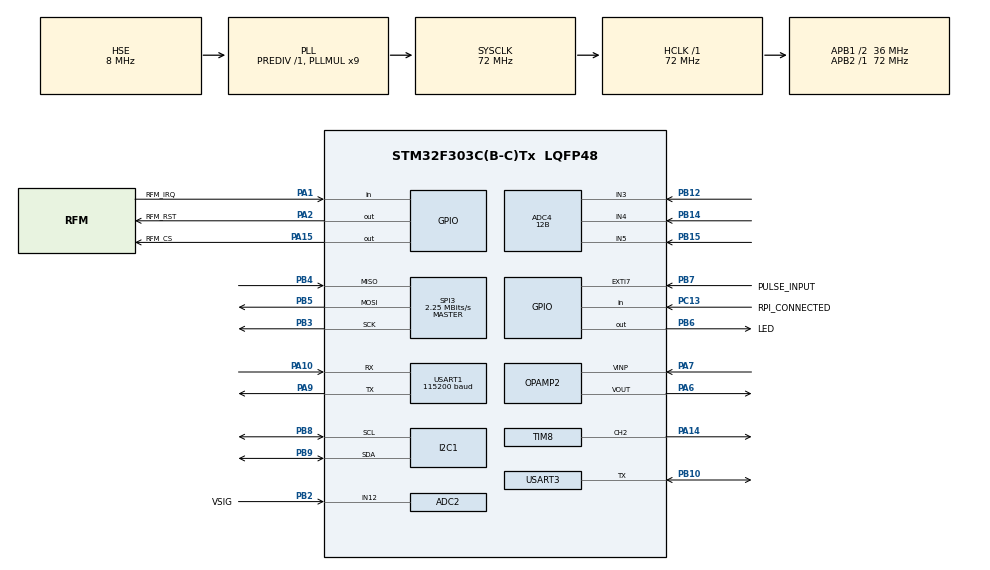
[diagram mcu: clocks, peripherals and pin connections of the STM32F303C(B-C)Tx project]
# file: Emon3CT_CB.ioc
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ADC2.Channel-0\#ChannelRegularConversion=ADC_CHANNEL_12
ADC2.ClockPrescaler=ADC_CLOCK_SYNC_PCLK_DIV4
ADC2.ContinuousConvMode=ENABLE
ADC2.DMAContinuousRequests=ENABLE
ADC2.DataAlign=ADC_DATAALIGN_RIGHT
ADC2.DiscontinuousConvMode=DISABLE
ADC2.EOCSelection=ADC_EOC_SEQ_CONV
ADC2.EnableAnalogWatchDog1=false
ADC2.EnableAnalogWatchDog2=false
ADC2.EnableAnalogWatchDog3=false
ADC2.EnableInjectedConversion=DISABLE
ADC2.EnableRegularConversion=ENABLE
ADC2.ExternalTrigConv=ADC_EXTERNALTRIGCONV_T8_TRGO2
ADC2.ExternalTrigConvEdge=ADC_EXTERNALTRIGCONVEDGE_RISING
ADC2.LowPowerAutoWait=DISABLE
ADC2.NbrOfConversion=1
ADC2.NbrOfConversionFlag=1
ADC2.Offset-0\#ChannelRegularConversion=0
ADC2.OffsetNumber-0\#ChannelRegularConversion=ADC_OFFSET_NONE
ADC2.Overrun=ADC_OVR_DATA_OVERWRITTEN
ADC2.Rank-0\#ChannelRegularConversion=1
ADC2.Resolution=ADC_RESOLUTION_12B
ADC2.SamplingTime-0\#ChannelRegularConversion=ADC_SAMPLETIME_601CYCLES_5
ADC2.ScanConvMode=ADC_SCAN_DISABLE
ADC4.Channel-25\#ChannelRegularConversion=ADC_CHANNEL_3
ADC4.Channel-26\#ChannelRegularConversion=ADC_CHANNEL_4
ADC4.Channel-27\#ChannelRegularConversion=ADC_CHANNEL_5
ADC4.ClockPrescaler=ADC_CLOCK_SYNC_PCLK_DIV4
ADC4.ContinuousConvMode=ENABLE
ADC4.DMAContinuousRequests=ENABLE
ADC4.DataAlign=ADC_DATAALIGN_RIGHT
ADC4.DiscontinuousConvMode=DISABLE
ADC4.EOCSelection=ADC_EOC_SEQ_CONV
ADC4.EnableAnalogWatchDog1=false
ADC4.EnableAnalogWatchDog2=false
ADC4.EnableAnalogWatchDog3=false
ADC4.EnableInjectedConversion=DISABLE
ADC4.EnableRegularConversion=ENABLE
ADC4.ExternalTrigConv=ADC_EXTERNALTRIGCONV_T8_TRGO2
ADC4.ExternalTrigConvEdge=ADC_EXTERNALTRIGCONVEDGE_RISING
ADC4.LowPowerAutoWait=DISABLE
ADC4.NbrOfConversion=3
ADC4.NbrOfConversionFlag=1
ADC4.Offset-25\#ChannelRegularConversion=0
ADC4.Offset-26\#ChannelRegularConversion=0
ADC4.Offset-27\#ChannelRegularConversion=0
ADC4.OffsetNumber-25\#ChannelRegularConversion=ADC_OFFSET_NONE
ADC4.OffsetNumber-26\#ChannelRegularConversion=ADC_OFFSET_NONE
ADC4.OffsetNumber-27\#ChannelRegularConversion=ADC_OFFSET_NONE
ADC4.Overrun=ADC_OVR_DATA_OVERWRITTEN
ADC4.Rank-25\#ChannelRegularConversion=1
ADC4.Rank-26\#ChannelRegularConversion=2
ADC4.Rank-27\#ChannelRegularConversion=3
ADC4.Resolution=ADC_RESOLUTION_12B
ADC4.SamplingTime-25\#ChannelRegularConversion=ADC_SAMPLETIME_601CYCLES_5
ADC4.SamplingTime-26\#ChannelRegularConversion=ADC_SAMPLETIME_601CYCLES_5
ADC4.SamplingTime-27\#ChannelRegularConversion=ADC_SAMPLETIME_601CYCLES_5
ADC4.ScanConvMode=ADC_SCAN_ENABLE
Dma.ADC2.1.Direction=DMA_PERIPH_TO_MEMORY
Dma.ADC2.1.Instance=DMA2_Channel1
Dma.ADC2.1.MemDataAlignment=DMA_MDATAALIGN_HALFWORD
Dma.ADC2.1.MemInc=DMA_MINC_ENABLE
Dma.ADC2.1.Mode=DMA_CIRCULAR
Dma.ADC2.1.PeriphDataAlignment=DMA_PDATAALIGN_HALFWORD
Dma.ADC2.1.PeriphInc=DMA_PINC_DISABLE
Dma.ADC2.1.Priority=DMA_PRIORITY_HIGH
Dma.ADC4.0.Direction=DMA_PERIPH_TO_MEMORY
Dma.ADC4.0.Instance=DMA2_Channel2
Dma.ADC4.0.MemDataAlignment=DMA_MDATAALIGN_HALFWORD
Dma.ADC4.0.MemInc=DMA_MINC_ENABLE
Dma.ADC4.0.Mode=DMA_CIRCULAR
Dma.ADC4.0.PeriphDataAlignment=DMA_PDATAALIGN_HALFWORD
Dma.ADC4.0.PeriphInc=DMA_PINC_DISABLE
Dma.ADC4.0.Priority=DMA_PRIORITY_LOW
Dma.Request0=ADC4
Dma.Request1=ADC2
I2C1.Timing=0x10808DD3
Mcu.Family=STM32F3
Mcu.Name=STM32F303C(B-C)Tx
Mcu.Package=LQFP48
NVIC.ADC1_2_IRQn=true\:0\:0\:false\:false\:true\:true
NVIC.ADC4_IRQn=true\:0\:0\:false\:false\:true\:true
NVIC.DMA2_Channel1_IRQn=true\:0\:0\:false\:false\:true\:false
NVIC.DMA2_Channel2_IRQn=true\:0\:0\:false\:false\:true\:false
NVIC.EXTI9_5_IRQn=true\:0\:0\:false\:false\:true\:true
NVIC.FPU_IRQn=true\:0\:0\:false\:false\:true\:true
NVIC.PriorityGroup=NVIC_PRIORITYGROUP_4
PA1.GPIO_Label=RFM_IRQ
PA1.Signal=GPIO_Input
PA10.Mode=Asynchronous
PA10.Signal=USART1_RX
PA14.Signal=S_TIM8_CH2
PA15.GPIO_Label=RFM_CS
PA15.Signal=GPIO_Output
PA2.GPIO_Label=RFM_RST
PA2.Signal=GPIO_Output
PA6.Mode=Follower
PA6.Signal=OPAMP2_VOUT
PA7.Mode=Follower
PA7.Signal=OPAMP2_VINP
PA9.Mode=Asynchronous
PA9.Signal=USART1_TX
PB10.Mode=Half_duplex(single_wire_mode)
PB10.Signal=USART3_TX
PB12.Mode=IN3-Single-Ended
PB12.Signal=ADC4_IN3
PB14.Mode=IN4-Single-Ended
PB14.Signal=ADC4_IN4
PB15.Mode=IN5-Single-Ended
PB15.Signal=ADC4_IN5
PB2.GPIO_Label=VSIG
PB2.Mode=IN12-Single-Ended
PB2.Signal=ADC2_IN12
PB3.Mode=Full_Duplex_Master
PB3.Signal=SPI3_SCK
PB4.Mode=Full_Duplex_Master
PB4.Signal=SPI3_MISO
PB5.Mode=Full_Duplex_Master
PB5.Signal=SPI3_MOSI
PB6.GPIO_Label=LED
PB6.Signal=GPIO_Output
PB7.GPIO_Label=PULSE_INPUT
PB7.Signal=GPXTI7
PB8.Mode=I2C
PB8.Signal=I2C1_SCL
PB9.Mode=I2C
PB9.Signal=I2C1_SDA
PC13.GPIO_Label=RPI_CONNECTED
PC13.GPIO_PuPd=GPIO_PULLDOWN
PC13.Signal=GPIO_Input
PF0-OSC_IN.Mode=HSE-External-Oscillator
PF0-OSC_IN.Signal=RCC_OSC_IN
PF1-OSC_OUT.Mode=HSE-External-Oscillator
PF1-OSC_OUT.Signal=RCC_OSC_OUT
ProjectManager.HeapSize=0x200
ProjectManager.StackSize=0x400
ProjectManager.TargetToolchain=Makefile
RCC.AHBFreq_Value=72000000
RCC.APB1CLKDivider=RCC_HCLK_DIV2
RCC.APB1Freq_Value=36000000
RCC.APB1TimFreq_Value=72000000
RCC.APB2Freq_Value=72000000
RCC.APB2TimFreq_Value=72000000
RCC.CortexFreq_Value=72000000
RCC.HCLKFreq_Value=72000000
RCC.HSE_VALUE=8000000
RCC.HSI_VALUE=8000000
RCC.I2c1ClockSelection=RCC_I2C1CLKSOURCE_SYSCLK
RCC.LSE_VALUE=32768
RCC.PLLMUL=RCC_PLL_MUL9
RCC.PLLSourceVirtual=RCC_PLLSOURCE_HSE
RCC.SYSCLKFreq_VALUE=72000000
RCC.SYSCLKSourceVirtual=RCC_SYSCLKSOURCE_PLLCLK
RCC.USBFreq_Value=72000000
RCC.Usart3ClockSelection=RCC_USART3CLKSOURCE_SYSCLK
SH.S_TIM8_CH2.0=TIM8_CH2,PWM Generation2 CH2
SPI3.BaudRatePrescaler=SPI_BAUDRATEPRESCALER_16
SPI3.CalculateBaudRate=2.25 MBits/s
SPI3.DataSize=SPI_DATASIZE_8BIT
SPI3.Direction=SPI_DIRECTION_2LINES
SPI3.Mode=SPI_MODE_MASTER
SPI3.VirtualType=VM_MASTER
TIM8.Channel-PWM\ Generation2\ CH2=TIM_CHANNEL_2
TIM8.Period=9999
TIM8.Prescaler=71
TIM8.TIM_MasterOutputTrigger2=TIM_TRGO2_OC2REF
USART1.BaudRate=115200
USART1.VirtualMode-Asynchronous=VM_ASYNC
USART3.VirtualMode-Half_duplex(single_wire_mode)=VM_ASYNC
board=Emon3CT_CB

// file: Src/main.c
/**
  ******************************************************************************
  * @file           : main.c
  * @brief          : Main program body
  ******************************************************************************
  ** This notice applies to any and all portions of this file
  * that are not between comment pairs USER CODE BEGIN and
  * USER CODE END. Other portions of this file, whether
  * inserted by the user or by software development tools
  * are owned by their respective copyright owners.
  *
  * COPYRIGHT(c) 2021 STMicroelectronics
  *
  * Redistribution and use in source and binary forms, with or without modification,
  * are permitted provided that the following conditions are met:
  *   1. Redistributions of source code must retain the above copyright notice,
  *      this list of conditions and the following disclaimer.
  *   2. Redistributions in binary form must reproduce the above copyright notice,
  *      this list of conditions and the following disclaimer in the documentation
  *      and/or other materials provided with the distribution.
  *   3. Neither the name of STMicroelectronics nor the names of its contributors
  *      may be used to endorse or promote products derived from this software
  *      without specific prior written permission.
  *
  * THIS SOFTWARE IS PROVIDED BY THE COPYRIGHT HOLDERS AND CONTRIBUTORS "AS IS"
  * AND ANY EXPRESS OR IMPLIED WARRANTIES, INCLUDING, BUT NOT LIMITED TO, THE
  * IMPLIED WARRANTIES OF MERCHANTABILITY AND FITNESS FOR A PARTICULAR PURPOSE ARE
  * DISCLAIMED. IN NO EVENT SHALL THE COPYRIGHT HOLDER OR CONTRIBUTORS BE LIABLE
  * FOR ANY DIRECT, INDIRECT, INCIDENTAL, SPECIAL, EXEMPLARY, OR CONSEQUENTIAL
  * DAMAGES (INCLUDING, BUT NOT LIMITED TO, PROCUREMENT OF SUBSTITUTE GOODS OR
  * SERVICES; LOSS OF USE, DATA, OR PROFITS; OR BUSINESS INTERRUPTION) HOWEVER
  * CAUSED AND ON ANY THEORY OF LIABILITY, WHETHER IN CONTRACT, STRICT LIABILITY,
  * OR TORT (INCLUDING NEGLIGENCE OR OTHERWISE) ARISING IN ANY WAY OUT OF THE USE
  * OF THIS SOFTWARE, EVEN IF ADVISED OF THE POSSIBILITY OF SUCH DAMAGE.
  *
  ******************************************************************************
  */
#include "main.h"
#include "stm32f3xx_hal.h"
#include "adc.h"
#include "dma.h"
#include "i2c.h"
#include "opamp.h"
#include "spi.h"
#include "tim.h"
#include "usart.h"
#include "gpio.h"

/* USER CODE BEGIN Includes */
#include <string.h>
//#include "ds18b20.h"
#include <math.h>
#include <stdbool.h>
#include "power.h"
#include "reset.h"
#include "phase.h"
// #include "rfm.h"
// #include "RFM69.h"
// #include "RFM69_ext.h"
/* USER CODE END Includes */

/* USER CODE BEGIN PV */
/* Private variables ---------------------------------------------------------*/

// version information
char hwVersion[] = "0.2";
char fwVersion[] = "0.1";

//--------------------------------
// Radio Settings
//--------------------------------
// See RFM69.c for networkID, band,
// and other settings.
bool radioSender = false; // set 'true' to send test data with RFM69.
bool radioReceiver = false; // set 'true' to enable rfm69cw receiving.
static char encryptkey[20] = {'\0'}; // twenty character encrypt key, or  '\0'  for nothing.
//char encryptkey[20] = "asdfasdfasdfasdf"; // twenty character encrypt key, or  '\0'  for nothing.

#define RFM69CW
// #define RFMSELPIN 10                                    // RFM pins
// #define RFMIRQPIN 2                                     // RFM pins
#define RFPWR 0x99                                      // RFM Power setting - see rfm.ino for more

//------------------------------------------------
// timing variables
//------------------------------------------------
uint32_t readings_interval = 500; // millis to read waveform at.
uint32_t posting_interval = 5000; // millis to post data at.

//------------------------------------------------
// misc. flags
//------------------------------------------------
bool first_readings = false;
bool no_volts_flag = false;
// bool readings_ready = false;
bool rpi_connected;
// extern bool conv_halfcplt_flag;
// extern bool conv_cplt_flag;
bool ledBlink = true; // enable or disable LED blinking.

//------------------------
// Channel Results
//------------------------
typedef struct channel_results_
{
  double Vrms;
  double Irms;
  double ApparentPower;
  double RealPower;
  double PowerFactor;
  bool Clipped;
  int Mains_AC_Cycles; // counting complete waveforms
  long SampleCount;
  int Count;
} channel_results_t;

channel_results_t channel_results[CTn] = {0}; //  init the channel results.

//------------------------
// UART SERIAL BUFFERS
//------------------------
#define COMMAND_BUFFER_SIZE 30
char rx_string[COMMAND_BUFFER_SIZE];
char string_buffer[200];

//--------------------
// Time variables
//--------------------
uint32_t current_millis;
uint32_t previous_millis_fine;
uint32_t previous_millis_course;
uint32_t time2;
uint32_t time1;
uint32_t time_diff;

//----------------
// MISC
//----------------
static uint32_t pulseCount = 0;
extern int boot_number;

#define MID_ADC_READING 2048

/* USER CODE END PV */

void SystemClock_Config(void);

/* USER CODE BEGIN PFP */
/* Private function prototypes -----------------------------------------------*/

/* USER CODE END PFP */

int main(void)
{
  /* USER CODE BEGIN 1 */
  V_SCALE = VCAL * VOLTS_PER_DIV;
  I_SCALE = ICAL * VOLTS_PER_DIV;

  int _readings_interval = readings_interval; // temporarily store the usable posting period.
  readings_interval = 100; // speed up first discarded reading.

  /* USER CODE END 1 */

  /* MCU Configuration----------------------------------------------------------*/

  /* Reset of all peripherals, Initializes the Flash interface and the Systick. */
  HAL_Init();

  /* Configure the system clock */
  SystemClock_Config();

  /* Initialize all configured peripherals */
  MX_GPIO_Init();
  MX_DMA_Init();
  MX_USART1_UART_Init();
  MX_TIM8_Init();
  MX_ADC2_Init();
  MX_USART3_UART_Init();
  MX_I2C1_Init();
  MX_ADC4_Init();
  MX_SPI3_Init();
  MX_OPAMP2_Init();
  /* USER CODE BEGIN 2 */

  HAL_Delay(2000); // time necessary to catch first serial output on firmware launch after flash.

  sprintf(log_buffer, "{HardwareVersion:%s,FirmwareVersion:%s}\r\n", hwVersion, fwVersion); // initital write to buffer.
  debug_printf(log_buffer);
  debug_printf("\r\n\r\nStart, connect VT.\r\n");

  //------------------------
  // RESET CAUSE
  //------------------------
  reset_cause_store = reset_cause_get();
  // while (!usart_tx_ready); // force wait while usart Tx finishes.
  sprintf(log_buffer, "Reset Cause:%s\r\n", reset_cause_get_name(reset_cause_store));
  debug_printf(log_buffer);

  //------------------------
  // is the rPi Connected?
  //------------------------
  if (HAL_GPIO_ReadPin(RPI_CONNECTED_GPIO_Port, RPI_CONNECTED_Pin) == 1)
  {
    debug_printf("rPi connected!\r\n");
    // _mode = 1; // rpi mode.
    rpi_connected = true;
    // HAL_SPI_MspDeInit(&hspi3); // DeInit rPi SPI
    //----
    // Necessary? Does DeInit put the pins into a safe high impedance state?
    // GPIO_InitTypeDef GPIO_InitStruct;
    // GPIO_InitStruct.Pin = GPIO_PIN_3|GPIO_PIN_4|GPIO_PIN_5;
    // GPIO_InitStruct.Mode = GPIO_MODE_ANALOG;
    // GPIO_InitStruct.Pull = GPIO_NOPULL;
    // HAL_GPIO_Init(GPIOB, &GPIO_InitStruct);
  }
  else {
    debug_printf("rPi not connected.\r\n");
    // _mode = 0;
  }

  //--------------------------------
  // Radio Init
  //--------------------------------
  // rfm_rst();
  // rfm_init(1);

  // RFM69_RST();
  // HAL_Delay(20);
  // if (RFM69_initialize(freqBand, nodeID, networkID))
  // {
  //   // while (!usart_tx_ready); // force wait while usart Tx finishes.
  //   sprintf(log_buffer, "RFM69 Initialized. Freq %dMHz. Node %d. Group %d.\r\n", freqBand, nodeID, networkID);
  //   debug_printf(log_buffer);
  //   //RFM69_readAllRegs(); // debug output
  // }
  // else {
  //   debug_printf("RFM69 not connected.\r\n");
  //   radioSender = false; radioSender = false;
  // }

  // // if we have a encryption key, radio encryption will be set.
  // if (encryptkey[0]) RFM69_encrypt(encryptkey);

  // if (!radioReceiver && !radioSender) {
  //   HAL_SPI_MspDeInit(&hspi3); // disable SPI if radio is not wanted.
  //   debug_printf("Radio SPI Deinitialised.\r\n");
  // }

  HAL_SPI_MspDeInit(&hspi3); // disable SPI if radio is not wanted.

  //------------------------
  // ADC & OPAMP Start
  //------------------------
  HAL_ADCEx_Calibration_Start(&hadc2, ADC_SINGLE_ENDED);
  HAL_ADCEx_Calibration_Start(&hadc4, ADC_SINGLE_ENDED);
  HAL_Delay(2);
  HAL_OPAMP_SelfCalibrate(&hopamp2);
  HAL_OPAMP_Start(&hopamp2);
  HAL_Delay(2);
  start_ADCs(usec_lag);

  //------------------------
  // Temp Sensor Start
  //------------------------
  //init_ds18b20s(); // temperature sensor

  // sensible start times..
  current_millis = HAL_GetTick();
  previous_millis_course = current_millis;
  previous_millis_fine = current_millis;

  // Done Init indcator.
  debug_printf("\r\n.\r\n");

  /* USER CODE END 2 */

  /* Infinite loop */
  /* USER CODE BEGIN WHILE */
  while (1)
  {
    current_millis = HAL_GetTick();

    //------------------------------------------------
    // Short interval for accumulating raw readings.
    //------------------------------------------------
    if (current_millis - previous_millis_fine >= readings_interval)
    {
      uint16_t correction = current_millis - previous_millis_fine - readings_interval;
      previous_millis_fine = current_millis - correction;

      if (readings_requested) no_volts_flag = true;

      readings_requested = true;

      // RTC debug
      // RTC_CalendarShow(aShowTime, aShowDate);
      // debug_printf((char*)aShowDate); debug_printf("\r\n");
      // debug_printf((char*)aShowTime); debug_printf("\r\n");
    }

    //---------------------------------------------------
    // ADC DMA buffer flags. Process ADC Buffer Frames.
    //---------------------------------------------------
    if (conv_hfcplt_flag)
    {
      conv_hfcplt_flag = false;
      process_frame(0); // process 1st half of buffer.
    }
    if (conv_cplt_flag)
    {
      conv_cplt_flag = false;
      process_frame(adc_buff_half_size); // process 2nd half of buffer.
    }
    // HAL_Delay(200); // ADC buffer overrun flag test.

    //------------------------------------------------------
    // Calculate volts, amps etc. and store in accumulator.
    //------------------------------------------------------
    if (readings_ready)
    {
      readings_ready = false;
      memset(channel_rdy_bools, 0, sizeof(channel_rdy_bools)); // clear flags.

      if (!first_readings) {
        readings_interval = _readings_interval;
        first_readings = true;

        previous_millis_course = current_millis;

        // while (!usart_tx_ready); // force wait while usart Tx finishes.
        sprintf(log_buffer, "Start Sampling Millis: %ld\r\n", current_millis); // initital write to buffer.
        debug_printf(log_buffer);

        goto EndJump;
      } // discard the first set as beginning of 1st waveform not tracked.

      // initital write to buffer. sprintf or similar is crucial to prepare for strcat further along.
      sprintf(log_buffer, "HW:%s,FW:%s\r\n", hwVersion, fwVersion);
      //debug_printf(log_buffer);

      // CALCULATE POWER
      for (int ch = 0; ch < CTn; ch++)
      {
        channel_t *chn = &channels_ready[ch];
        channel_results_t *chn_result = &channel_results[ch];

        last_powerFactor[ch] = powerFactor_now[ch];
        calcPower(ch);
        powerFactor_now[ch] = powerFactor;
        pfHunt(ch);

        if (chn->Iclipped) { chn_result->Clipped = true; chn->Iclipped = false; }

        if (ch == 0) { // estimate mains_frequency on a single channel, no need for more.
          mains_frequency = 1.0/(((chn->samplecount * CTn) / chn->cycles) * adc_conversion_time);
        }

        chn_result->Vrms += Vrms;
        chn_result->Irms += Irms;
        chn_result->ApparentPower += apparentPower;
        chn_result->RealPower += realPower;
        chn_result->PowerFactor += powerFactor;
        chn_result->Mains_AC_Cycles += chn->cycles;
        chn_result->SampleCount += chn->samplecount;
        chn_result->Count++;
      }
    }

    //---------------------------------------------
    // POST DATA.. Serial Output, Radio, etc.
    //---------------------------------------------
    current_millis = HAL_GetTick();
    // now to take the channel results, average them and post them.
    if (current_millis - previous_millis_course >= posting_interval)
      {
        uint16_t correction = current_millis - previous_millis_course - posting_interval;
        previous_millis_course = current_millis - correction;

        if (no_volts_flag) {
          // while (!usart_tx_ready); // force wait while usart Tx finishes.
          sprintf(log_buffer, "No voltage waveform present.\r\n"); // initital write to buffer.
          debug_printf(log_buffer);
          no_volts_flag = false; // reset.
          goto SkipPost;
        }

        for (int ch = 0; ch < CTn; ch++) {
          channel_results_t *chn_result = &channel_results[ch];

          // Calculate human-readable values.
          chn_result->Vrms /= chn_result->Count;
          chn_result->Irms /= chn_result->Count;
          chn_result->ApparentPower /= chn_result->Count;
          chn_result->RealPower /= chn_result->Count;
          chn_result->PowerFactor /= chn_result->Count;

          int _ch = ch + 1; // nicer looking channel numbers.
          //if (_ch == 1) { //---uncomment for single channel debug output---
          sprintf(string_buffer, "V%d:%.2lf,I%d:%.3lf,RP%d:%.1lf,AP%d:%.1lf,PF%d:%.6lf,Joules%d:%.3lf,Clip%d:%d,cycles%d:%d,samples%d:%ld,\r\n",
                                _ch, chn_result->Vrms, _ch, chn_result->Irms, _ch, chn_result->RealPower,
                                _ch, chn_result->ApparentPower, _ch, chn_result->PowerFactor,
                                _ch, Ws_accumulator[ch], _ch, chn_result->Clipped,
                                _ch, chn_result->Mains_AC_Cycles, _ch, chn_result->SampleCount);
          strcat(log_buffer, string_buffer);
          //} //---uncomment for single channel debug output---
          chn_result->Clipped = false;
        }

        // Main frequency estimate.
        sprintf(string_buffer, "Hz:%.2f,", mains_frequency);
        strcat(log_buffer, string_buffer);

        // Millis
        sprintf(string_buffer, "millis:%ld,", current_millis);
        strcat(log_buffer, string_buffer);

        // Pulsecounters
        sprintf(string_buffer, "PC:%ld,", pulseCount);
        strcat(log_buffer, string_buffer);

        // has the adc buffer overrun?
        sprintf(string_buffer, "buffOverrun:%d", adc_buffer_overflow);
        adc_buffer_overflow = false; // reset
        strcat(log_buffer, string_buffer);

        //------------------------------------
        // Process Temperature Sesnor Data
        //------------------------------------
        // process_ds18b20s();
        // todo

        // close the string and add some whitespace for clarity.
        // if (!rpi_connected) { strcat(log_buffer, "}"); }
        strcat(log_buffer, "\r\n");
        debug_printf(log_buffer);

        // // RFM69 send.
        // if (radioSender) // sending data, test data only.
        // {
        //   radioData.nodeId = nodeID;
        //   radioData.uptime = HAL_GetTick();
        //   if(ledBlink) { HAL_GPIO_WritePin(LED3_GPIO_Port, LED3_Pin, 1); HAL_TIM_Base_Start_IT(&htim16); }// LED blink
        //   RFM69_send(toAddress, (const void *)(&radioData), sizeof(radioData), requestACK);
        //   while (!usart_tx_ready); // force wait while usart Tx finishes.
        //   debug_printf("radio Tx\r\n");
        //   //RFM69_sendWithRetry(toAddress, (const void *)(&radioData), sizeof(radioData), 3,20);
        // }

        SkipPost:
        // reset accumulators.
        for (int ch = 0; ch < CTn; ch++) {
                channel_results_t *chn_result = &channel_results[ch];
                memset((void*)chn_result, 0, sizeof(channel_results_t));
        }

        // if(ledBlink) {HAL_GPIO_WritePin(LED2_GPIO_Port, LED2_Pin, GPIO_PIN_RESET); }

      } EndJump:; // end main readings_ready function.

    // end main readings_ready functions.
    // end main readings_ready functions.
    // end main readings_ready functions.

    // if (readings_ready)
    // {
    //   readings_ready = false;
    //   time2 = time1;
    //   time1 = HAL_GetTick();
    //   time_diff = time1 - time2;
    //   for (int n = 0; n < NUMBER_OF_CHANNELS; n++)
    //   {
    //     channel_t *chn = &channels_copy[n];

    //     float Vmean = chn->sum_V / (float)chn->count;
    //     float Imean = chn->sum_I / (float)chn->count;

    //     chn->sum_V_sq /= (float)chn->count;
    //     chn->sum_V_sq -= (Vmean * Vmean); // offset subtraction

    //     if (chn->sum_V_sq < 0) // if offset removal cause a negative number,
    //       chn->sum_V_sq = 0;   // make it 0 to avoid a nan at sqrt.

    //     float Vrms = V_RATIO * sqrtf((float)chn->sum_V_sq);

    //     chn->sum_I_sq /= (float)chn->count;
    //     chn->sum_I_sq -= (Imean * Imean);

    //     if (chn->sum_I_sq < 0)
    //       chn->sum_I_sq = 0;

    //     float Irms = I_RATIO * sqrtf((float)chn->sum_I_sq);

    //     float mean_P = (chn->sum_P / (float)chn->count) - (Vmean * Imean);
    //     float realPower = V_RATIO * I_RATIO * mean_P;

    //     float apparentPower = Vrms * Irms;

    //     float powerFactor;
    //     if (apparentPower != 0) // prevents 'inf' at division
    //     {
    //       powerFactor = realPower / apparentPower;
    //     }
    //     else
    //       powerFactor = 0;

    //     Ws_acc[n] += ((float)(time_diff / 1000.0)) * realPower; // Watt second accumulator.
    //     float Wh_acc = Ws_acc[n] / 3600.0;                      // Wh_acc
    //     float frequency = 250.0 / (float)(time_diff / 1000.0);    // Hz

    //     int _n = n + 1; // for nicer serial print out
    //     sprintf(log_buffer, "V%d:%.2f,I%d:%.3f,RP%d:%.1f,AP%d:%.1f,PF%d:%.3f,Wh%d:%.3f,Hz%d:%.2f,C%d:%ld", _n, Vrms, _n, Irms, _n, realPower, _n, apparentPower, _n, powerFactor, _n, Wh_acc, _n, frequency, _n, chn->count);
    //     debug_printf(log_buffer);
    //   }

    //   debug_printf("\r\n");

      /*
      CoreDebug->DEMCR |= CoreDebug_DEMCR_TRCENA_Msk;
      ITM->LAR = 0xC5ACCE55;
      DWT->CTRL |= DWT_CTRL_CYCCNTENA_Msk;
      DWT->CYCCNT = 0;
      uint32_t DWTcounter = DWT->CYCCNT;
      sprintf(log_buffer, "here:%ld\r\n", DWTcounter);
      debug_printf(log_buffer);
      */
    // }
  /* USER CODE END WHILE */

  }

}

void SystemClock_Config(void)
{

  RCC_OscInitTypeDef RCC_OscInitStruct;
  RCC_ClkInitTypeDef RCC_ClkInitStruct;
  RCC_PeriphCLKInitTypeDef PeriphClkInit;

    /**Initializes the CPU, AHB and APB busses clocks
    */
  RCC_OscInitStruct.OscillatorType = RCC_OSCILLATORTYPE_HSE;
  RCC_OscInitStruct.HSEState = RCC_HSE_ON;
  RCC_OscInitStruct.HSEPredivValue = RCC_HSE_PREDIV_DIV1;
  RCC_OscInitStruct.HSIState = RCC_HSI_ON;
  RCC_OscInitStruct.PLL.PLLState = RCC_PLL_ON;
  RCC_OscInitStruct.PLL.PLLSource = RCC_PLLSOURCE_HSE;
  RCC_OscInitStruct.PLL.PLLMUL = RCC_PLL_MUL9;
  if (HAL_RCC_OscConfig(&RCC_OscInitStruct) != HAL_OK)
  {
    _Error_Handler(__FILE__, __LINE__);
  }

    /**Initializes the CPU, AHB and APB busses clocks
    */
  RCC_ClkInitStruct.ClockType = RCC_CLOCKTYPE_HCLK|RCC_CLOCKTYPE_SYSCLK
                              |RCC_CLOCKTYPE_PCLK1|RCC_CLOCKTYPE_PCLK2;
  RCC_ClkInitStruct.SYSCLKSource = RCC_SYSCLKSOURCE_PLLCLK;
  RCC_ClkInitStruct.AHBCLKDivider = RCC_SYSCLK_DIV1;
  RCC_ClkInitStruct.APB1CLKDivider = RCC_HCLK_DIV2;
  RCC_ClkInitStruct.APB2CLKDivider = RCC_HCLK_DIV1;

  if (HAL_RCC_ClockConfig(&RCC_ClkInitStruct, FLASH_LATENCY_2) != HAL_OK)
  {
    _Error_Handler(__FILE__, __LINE__);
  }

  PeriphClkInit.PeriphClockSelection = RCC_PERIPHCLK_USART1|RCC_PERIPHCLK_USART3
                              |RCC_PERIPHCLK_I2C1|RCC_PERIPHCLK_TIM8;
  PeriphClkInit.Usart1ClockSelection = RCC_USART1CLKSOURCE_PCLK2;
  PeriphClkInit.Usart3ClockSelection = RCC_USART3CLKSOURCE_SYSCLK;
  PeriphClkInit.I2c1ClockSelection = RCC_I2C1CLKSOURCE_SYSCLK;
  PeriphClkInit.Tim8ClockSelection = RCC_TIM8CLK_HCLK;
  if (HAL_RCCEx_PeriphCLKConfig(&PeriphClkInit) != HAL_OK)
  {
    _Error_Handler(__FILE__, __LINE__);
  }

    /**Configure the Systick interrupt time
    */
  HAL_SYSTICK_Config(HAL_RCC_GetHCLKFreq()/1000);

    /**Configure the Systick
    */
  HAL_SYSTICK_CLKSourceConfig(SYSTICK_CLKSOURCE_HCLK);

  /* SysTick_IRQn interrupt configuration */
  HAL_NVIC_SetPriority(SysTick_IRQn, 0, 0);
}

/* USER CODE BEGIN 4 */

// void onPulse()
// {
//   pulseCount++;
// }

void HAL_GPIO_EXTI_Callback (uint16_t GPIO_Pin) {
  if (GPIO_Pin == PULSE_INPUT_Pin) {
    // debugFlag_pulse1 = true;
    pulseCount++;
  }
}

/* USER CODE END 4 */

void _Error_Handler(char *file, int line)
{
  while (1)
  {
  }
}

/************************ (C) COPYRIGHT STMicroelectronics *****END OF FILE****/
